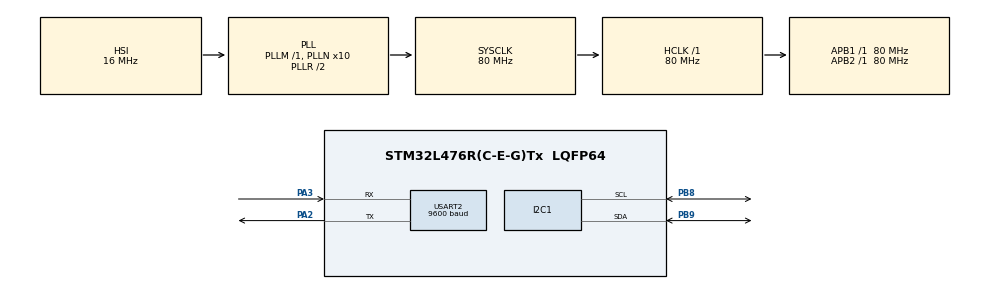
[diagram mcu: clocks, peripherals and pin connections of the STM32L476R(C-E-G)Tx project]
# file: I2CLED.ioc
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I2C1.Timing=0x10909CEC
Mcu.Family=STM32L4
Mcu.Name=STM32L476R(C-E-G)Tx
Mcu.Package=LQFP64
NVIC.PriorityGroup=NVIC_PRIORITYGROUP_4
PA2.Mode=Asynchronous
PA2.Signal=USART2_TX
PA3.Mode=Asynchronous
PA3.Signal=USART2_RX
PB8.Mode=I2C
PB8.Signal=I2C1_SCL
PB9.Mode=I2C
PB9.Signal=I2C1_SDA
PH0-OSC_IN\ (PH0).Mode=HSE-External-Oscillator
PH0-OSC_IN\ (PH0).Signal=RCC_OSC_IN
PH1-OSC_OUT\ (PH1).Mode=HSE-External-Oscillator
PH1-OSC_OUT\ (PH1).Signal=RCC_OSC_OUT
ProjectManager.HeapSize=0x200
ProjectManager.StackSize=0x400
ProjectManager.TargetToolchain=STM32CubeIDE
RCC.ADCFreq_Value=64000000
RCC.AHBFreq_Value=80000000
RCC.APB1Freq_Value=80000000
RCC.APB1TimFreq_Value=80000000
RCC.APB2Freq_Value=80000000
RCC.APB2TimFreq_Value=80000000
RCC.CortexFreq_Value=80000000
RCC.HCLKFreq_Value=80000000
RCC.HSE_VALUE=8000000
RCC.HSI_VALUE=16000000
RCC.LSE_VALUE=32768
RCC.MSI_VALUE=4000000
RCC.PLLN=10
RCC.PLLSourceVirtual=RCC_PLLSOURCE_HSI
RCC.SYSCLKFreq_VALUE=80000000
RCC.SYSCLKSource=RCC_SYSCLKSOURCE_PLLCLK
RCC.USBFreq_Value=64000000
RCC.VCOOutputFreq_Value=160000000
USART2.BaudRate=9600
USART2.VirtualMode-Asynchronous=VM_ASYNC
board=custom

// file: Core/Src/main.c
/* USER CODE BEGIN Header */
/**
  ******************************************************************************
  * @file           : main.c
  * @brief          : Main program body
  ******************************************************************************
  * @attention
  *
  * Copyright (c) 2024 STMicroelectronics.
  * All rights reserved.
  *
  * This software is licensed under terms that can be found in the LICENSE file
  * in the root directory of this software component.
  * If no LICENSE file comes with this software, it is provided AS-IS.
  *
  ******************************************************************************
  */
/* USER CODE END Header */
#include "main.h"

/* USER CODE BEGIN Includes */

#define IODIRA 0x00
#define MCP_GPIOA 0x12
char I2C_ADDRESS = 0x40;

I2C_HandleTypeDef hi2c1;

/* USER CODE END Includes */

I2C_HandleTypeDef hi2c1;

UART_HandleTypeDef huart2;

void SystemClock_Config(void);
static void MX_GPIO_Init(void);
static void MX_I2C1_Init(void);
static void MX_USART2_UART_Init(void);
/* USER CODE BEGIN PFP */
void SEND (char port, char data)
{

	uint8_t buff[2];
	buff[0]=port;
	buff[1]=data;
	HAL_I2C_Master_Transmit(&hi2c1, I2C_ADDRESS, buff, 2, 1000);

}

/* USER CODE END PFP */

int main(void)
{

  /* MCU Configuration--------------------------------------------------------*/

  /* Reset of all peripherals, Initializes the Flash interface and the Systick. */
  HAL_Init();

  /* Configure the system clock */
  SystemClock_Config();

  /* Initialize all configured peripherals */
  MX_GPIO_Init();
  MX_I2C1_Init();
  MX_USART2_UART_Init();
  /* USER CODE BEGIN 2 */
HAL_I2C_Init(&hi2c1);
SEND(IODIRA, 0xFE);
  /* USER CODE END 2 */

  /* Infinite loop */
  /* USER CODE BEGIN WHILE */
  while (1)
  {

	  SEND(MCP_GPIOA, 0);
	  HAL_Delay(1000);
	  SEND(MCP_GPIOA, 1);
	  HAL_Delay(1000);

    /* USER CODE END WHILE */

  }
}

void SystemClock_Config(void)
{
  RCC_OscInitTypeDef RCC_OscInitStruct = {0};
  RCC_ClkInitTypeDef RCC_ClkInitStruct = {0};

  /** Configure the main internal regulator output voltage
  */
  if (HAL_PWREx_ControlVoltageScaling(PWR_REGULATOR_VOLTAGE_SCALE1) != HAL_OK)
  {
    Error_Handler();
  }

  /** Initializes the RCC Oscillators according to the specified parameters
  * in the RCC_OscInitTypeDef structure.
  */
  RCC_OscInitStruct.OscillatorType = RCC_OSCILLATORTYPE_HSI;
  RCC_OscInitStruct.HSIState = RCC_HSI_ON;
  RCC_OscInitStruct.HSICalibrationValue = RCC_HSICALIBRATION_DEFAULT;
  RCC_OscInitStruct.PLL.PLLState = RCC_PLL_ON;
  RCC_OscInitStruct.PLL.PLLSource = RCC_PLLSOURCE_HSI;
  RCC_OscInitStruct.PLL.PLLM = 1;
  RCC_OscInitStruct.PLL.PLLN = 10;
  RCC_OscInitStruct.PLL.PLLP = RCC_PLLP_DIV7;
  RCC_OscInitStruct.PLL.PLLQ = RCC_PLLQ_DIV2;
  RCC_OscInitStruct.PLL.PLLR = RCC_PLLR_DIV2;
  if (HAL_RCC_OscConfig(&RCC_OscInitStruct) != HAL_OK)
  {
    Error_Handler();
  }

  /** Initializes the CPU, AHB and APB buses clocks
  */
  RCC_ClkInitStruct.ClockType = RCC_CLOCKTYPE_HCLK|RCC_CLOCKTYPE_SYSCLK
                              |RCC_CLOCKTYPE_PCLK1|RCC_CLOCKTYPE_PCLK2;
  RCC_ClkInitStruct.SYSCLKSource = RCC_SYSCLKSOURCE_PLLCLK;
  RCC_ClkInitStruct.AHBCLKDivider = RCC_SYSCLK_DIV1;
  RCC_ClkInitStruct.APB1CLKDivider = RCC_HCLK_DIV1;
  RCC_ClkInitStruct.APB2CLKDivider = RCC_HCLK_DIV1;

  if (HAL_RCC_ClockConfig(&RCC_ClkInitStruct, FLASH_LATENCY_4) != HAL_OK)
  {
    Error_Handler();
  }
}

static void MX_I2C1_Init(void)
{

  hi2c1.Instance = I2C1;
  hi2c1.Init.Timing = 0x10909CEC;
  hi2c1.Init.OwnAddress1 = 0;
  hi2c1.Init.AddressingMode = I2C_ADDRESSINGMODE_7BIT;
  hi2c1.Init.DualAddressMode = I2C_DUALADDRESS_DISABLE;
  hi2c1.Init.OwnAddress2 = 0;
  hi2c1.Init.OwnAddress2Masks = I2C_OA2_NOMASK;
  hi2c1.Init.GeneralCallMode = I2C_GENERALCALL_DISABLE;
  hi2c1.Init.NoStretchMode = I2C_NOSTRETCH_DISABLE;
  if (HAL_I2C_Init(&hi2c1) != HAL_OK)
  {
    Error_Handler();
  }

  /** Configure Analogue filter
  */
  if (HAL_I2CEx_ConfigAnalogFilter(&hi2c1, I2C_ANALOGFILTER_ENABLE) != HAL_OK)
  {
    Error_Handler();
  }

  /** Configure Digital filter
  */
  if (HAL_I2CEx_ConfigDigitalFilter(&hi2c1, 0) != HAL_OK)
  {
    Error_Handler();
  }

}

static void MX_USART2_UART_Init(void)
{

  huart2.Instance = USART2;
  huart2.Init.BaudRate = 9600;
  huart2.Init.WordLength = UART_WORDLENGTH_8B;
  huart2.Init.StopBits = UART_STOPBITS_1;
  huart2.Init.Parity = UART_PARITY_NONE;
  huart2.Init.Mode = UART_MODE_TX_RX;
  huart2.Init.HwFlowCtl = UART_HWCONTROL_NONE;
  huart2.Init.OverSampling = UART_OVERSAMPLING_16;
  huart2.Init.OneBitSampling = UART_ONE_BIT_SAMPLE_DISABLE;
  huart2.AdvancedInit.AdvFeatureInit = UART_ADVFEATURE_NO_INIT;
  if (HAL_UART_Init(&huart2) != HAL_OK)
  {
    Error_Handler();
  }

}

static void MX_GPIO_Init(void)
{

  /* GPIO Ports Clock Enable */
  __HAL_RCC_GPIOH_CLK_ENABLE();
  __HAL_RCC_GPIOA_CLK_ENABLE();
  __HAL_RCC_GPIOB_CLK_ENABLE();

}

void Error_Handler(void)
{
  __disable_irq();
  while (1)
  {
  }
}
